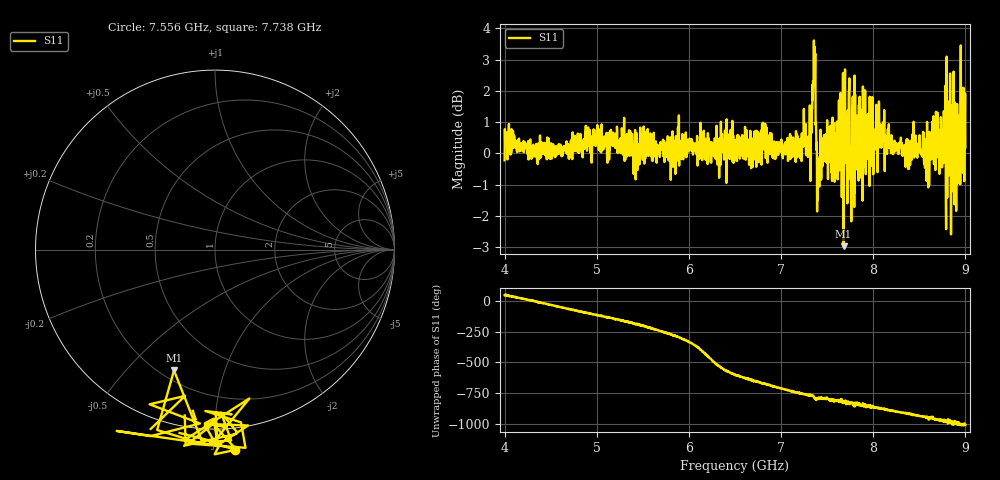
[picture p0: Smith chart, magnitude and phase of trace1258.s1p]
! Created with skrf 1.8.0 (http://scikit-rf.org).
# Hz S RI R 50.0
!freq ReS11 ImS11
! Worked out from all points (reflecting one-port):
!   1601 points, 4 GHz to 9 GHz, reference 50 ohm
!   lowest |S11| = -3.0 dB at 7.678 GHz (marker M1), VSWR 5.91, Z = 12.6 - j34.3 ohm
!   phase of S11 starts at 46 deg and turns -1052 deg over the sweep
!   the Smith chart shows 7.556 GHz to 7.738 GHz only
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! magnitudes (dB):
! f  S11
! 4 GHz  -0.2
! 4.625 GHz  -0.1
! 5.25 GHz  0.2
! 5.875 GHz  0.0
! 6.5 GHz  0.1
! 7.125 GHz  0.2
! 7.294 GHz  0.0
! 7.347 GHz  2.3
! 7.362 GHz  3.4
! 7.4 GHz  -0.7
! 7.412 GHz  -1.0
! 7.478 GHz  0.6
! 7.591 GHz  0.6
! 7.647 GHz  1.5
! 7.678 GHz  -3.0
! 7.75 GHz  0.2
! 7.769 GHz  -0.9
! 7.822 GHz  0.7
! 7.928 GHz  0.9
! 8.375 GHz  -0.1
! 8.438 GHz  1.0
! 8.584 GHz  1.0
! 8.759 GHz  0.4
! 8.766 GHz  1.3
! 8.816 GHz  -0.7
! 8.869 GHz  -1.1
! 8.972 GHz  0.3
! 9 GHz  0.2
